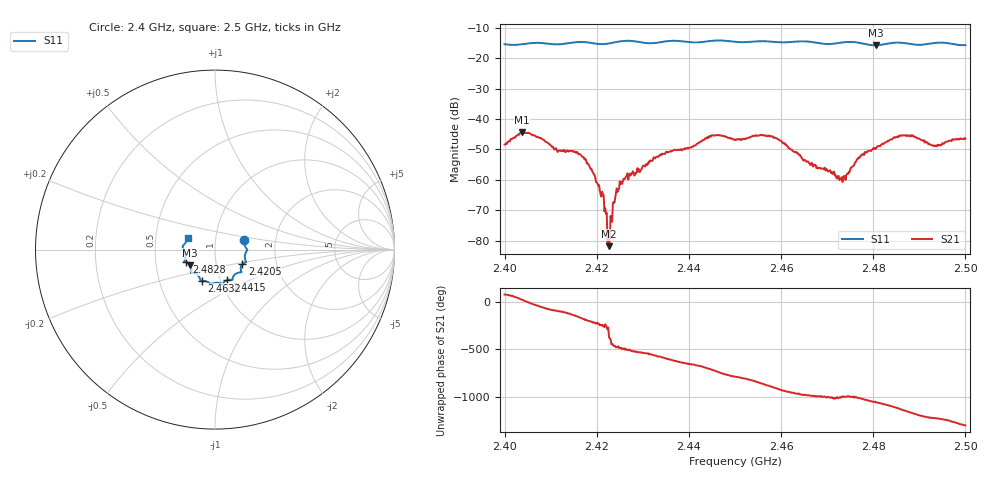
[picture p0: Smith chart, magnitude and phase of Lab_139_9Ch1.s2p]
# Hz S RI R 50
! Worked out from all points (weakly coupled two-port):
!   601 points, 2.4 GHz to 2.5 GHz, reference 50 ohm
!   highest |S21| = -44.39 dB at 2.4038 GHz (marker M1); lowest = -81.8 dB at 2.4227 GHz (marker M2)
!   lowest |S11| = -15.7 dB at 2.4805 GHz (marker M3), VSWR 1.39, Z = 37.3 - j6.69 ohm
!   |S11| at or under -10 dB: start of sweep to end of sweep
!   S12 and S22 are empty: the file has one direction only
!   S11 on the Smith chart (normalised r, x): 2.4 GHz: 1.38, +0.15; 2.4205 GHz: 1.34, -0.22; 2.4415 GHz: 1.07, -0.38; 2.4632 GHz: 0.82, -0.29; 2.4828 GHz: 0.72, -0.10; 2.5 GHz: 0.73, +0.10
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2.4e9  0.1633 0.0516  0.00062 0.00377  0 0  0 0
2.403833e9  0.1708 0.0115  0.00543 0.00261  0 0  0 0
2.416667e9  0.173 -0.0696  -0.00247 -0.000457  0 0  0 0
2.4205e9  0.1518 -0.0816  -0.000537 0.000623  0 0  0 0
2.421667e9  0.1457 -0.0917  -3.72e-05 0.000301  0 0  0 0
2.422167e9  0.144 -0.097  -2.97e-05 0.000284  0 0  0 0
2.422667e9  0.1433 -0.1019  7.97e-05 -1.44e-05  0 0  0 0
2.424e9  0.1441 -0.1147  -0.000129 -0.000485  0 0  0 0
2.4255e9  0.1473 -0.1243  -0.00063 -0.000585  0 0  0 0
2.433333e9  0.1006 -0.1517  -0.00197 0.00134  0 0  0 0
2.4415e9  0.0653 -0.1708  0.00227 0.00297  0 0  0 0
2.4455e9  0.0423 -0.1912  0.00533 -0.000383  0 0  0 0
2.45e9  0.0243 -0.1859  0.00176 -0.00416  0 0  0 0
2.457667e9  -0.0292 -0.1868  -0.00525 -0.000864  0 0  0 0
2.463167e9  -0.0732 -0.1739  -0.00119 0.00265  0 0  0 0
2.466667e9  -0.0818 -0.1671  -2.93e-05 0.00191  0 0  0 0
2.473167e9  -0.1278 -0.1301  0.000209 0.00109  0 0  0 0
2.4805e9  -0.1389 -0.0872  0.00301 0.00118  0 0  0 0
2.482833e9  -0.1589 -0.0702  0.00418 -0.000222  0 0  0 0
2.483333e9  -0.1626 -0.0682  0.00424 -0.000889  0 0  0 0
2.4935e9  -0.1794 0.0124  -0.00307 -0.00193  0 0  0 0
2.5e9  -0.1525 0.0646  -0.00346 0.00325  0 0  0 0
